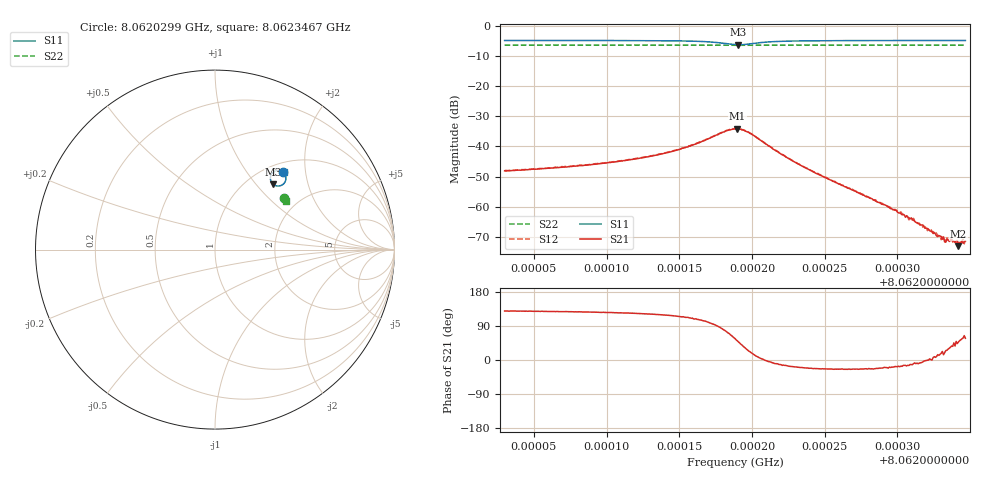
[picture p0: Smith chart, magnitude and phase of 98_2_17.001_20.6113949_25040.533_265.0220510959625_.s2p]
#  HZ  S  RI  R  50.00
! Rohde & Schwarz Vector Network Analyzer
! Rohde-Schwarz,ZNB20-2Port,1311601062101988,3.16
! Created: UTC 3/20/2024, 10:56:25 PM
! freq[Hz]  re:S11  im:S11  re:S21  im:S21  re:S12  im:S12  re:S22  im:S22
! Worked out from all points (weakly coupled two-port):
!   401 points, 8.0620299 GHz to 8.0623467 GHz, reference 50 ohm
!   highest |S21| = -34.13 dB at 8.0621899 GHz (marker M1); lowest = -73.1 dB at 8.0623419 GHz (marker M2)
!   lowest |S11| = -6.2 dB at 8.0621907 GHz (marker M3), VSWR 2.90, Z = 64.7 + j61.8 ohm
!   |S11| at or under -10 dB: nowhere
!   |S22| runs from -6.4 to -6.3 dB; largest |S21 - S12| = 0.0015
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8.06202993e9  0.3787 0.4334  -0.0025 0.00305  -0.00233 0.00322  0.3872 0.2882
8.06208299e9  0.3842 0.4274  -0.0029 0.00385  -0.00272 0.0041  0.3891 0.2854
8.06211229e9  0.3882 0.4219  -0.00327 0.00482  -0.00304 0.00511  0.3899 0.2837
8.06213605e9  0.3923 0.414  -0.00366 0.00641  -0.00332 0.00669  0.391 0.2823
8.06215426e9  0.3953 0.402  -0.00367 0.00887  -0.00325 0.00916  0.3913 0.2808
8.06217168e9  0.3905 0.3771  -0.00177 0.014  -0.000914 0.0141  0.3912 0.2791
8.06218277e9  0.3627 0.3553  0.00514 0.0176  0.00621 0.0175  0.3903 0.278
8.06218831e9  0.3355 0.3572  0.0108 0.0163  0.0121 0.0157  0.3891 0.2783
8.0621899e9  0.3279 0.3613  0.0125 0.0152  0.0135 0.0144  0.389 0.2786
8.06219069e9  0.3242 0.364  0.013 0.0143  0.0142 0.0137  0.3888 0.2785
8.06219861e9  0.3086 0.4002  0.0153 0.00612  0.0159 0.00511  0.3891 0.2801
8.06222078e9  0.3427 0.4398  0.00706 -0.0018  0.00705 -0.00207  0.3917 0.2802
8.06224137e9  0.3599 0.4402  0.00359 -0.00148  0.00355 -0.00167  0.393 0.2791
8.06229443e9  0.3757 0.4344  0.000915 -0.000311  0.000919 -0.000387  0.3954 0.2761
8.06230789e9  0.3778 0.4331  0.000635 -0.000165  0.000574 -0.000194  0.396 0.2754
8.06232453e9  0.3801 0.4316  0.000356 4.14e-05  0.000388 -1.23e-05  0.3965 0.2745
8.06233165e9  0.3809 0.431  0.000308 7.58e-05  0.000278 7.81e-05  0.3967 0.274
8.06233403e9  0.3812 0.4308  0.000259 0.000125  0.000283 0.000109  0.3968 0.2741
8.06233561e9  0.3813 0.4306  0.000228 0.000136  0.000253 0.000114  0.3969 0.274
8.06234195e9  0.3821 0.4301  0.000149 0.000164  0.000204 0.000153  0.397 0.2737
8.06234353e9  0.3823 0.43  0.000153 0.000206  0.000156 0.000192  0.397 0.2735
8.0623467e9  0.3825 0.4299  0.000146 0.000227  0.000141 0.000236  0.3972 0.2734
